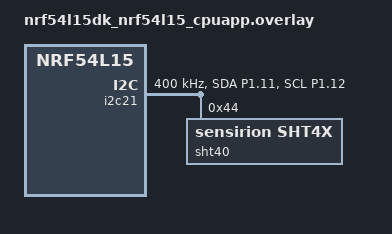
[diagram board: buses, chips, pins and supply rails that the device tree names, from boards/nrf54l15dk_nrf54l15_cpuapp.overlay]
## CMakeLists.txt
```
cmake_minimum_required(VERSION 3.20.0)

find_package(Zephyr REQUIRED HINTS $ENV{ZEPHYR_BASE})
project(sponge_tag)

target_sources(app PRIVATE src/main.c)
```

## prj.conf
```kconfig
# sponge-tag bring-up + product firmware (nRF Connect SDK v2.9.3)
CONFIG_GPIO=y
CONFIG_I2C=y
CONFIG_SENSOR=y

CONFIG_LOG=y
CONFIG_LOG_MODE_DEFERRED=y

# BLE broadcaster only: no connections (A01: 2 s adv interval)
CONFIG_BT=y
CONFIG_BT_BROADCASTER=y
CONFIG_BT_DEVICE_NAME="sponge-tag"

CONFIG_MAIN_STACK_SIZE=2048
```

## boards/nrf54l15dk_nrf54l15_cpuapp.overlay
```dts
/*
 * sponge-tag pin map on the nRF54L15 DK (develop before the boards arrive).
 * Matches 01-spec/analyses/A04 and 03-schematic net names:
 *   LED_GPIO = P1.10 (DK led1), BTN_GPIO = P1.13 (DK button0),
 *   I2C_SDA = P1.11, I2C_SCL = P1.12 (TWIM21) -> SHT40 breakout wired to the DK header,
 *   UART_TX/RX = P1.04/P1.05 (UARTE20, same as the DK console).
 */
/ {
	aliases {
		status-led = &led1;
		user-button = &button0;
	};
};

&pinctrl {
	i2c21_default: i2c21_default {
		group1 {
			psels = <NRF_PSEL(TWIM_SDA, 1, 11)>,
				<NRF_PSEL(TWIM_SCL, 1, 12)>;
		};
	};

	i2c21_sleep: i2c21_sleep {
		group1 {
			psels = <NRF_PSEL(TWIM_SDA, 1, 11)>,
				<NRF_PSEL(TWIM_SCL, 1, 12)>;
			low-power-enable;
		};
	};
};

&i2c21 {
	status = "okay";
	clock-frequency = <I2C_BITRATE_FAST>;
	pinctrl-0 = <&i2c21_default>;
	pinctrl-1 = <&i2c21_sleep>;
	pinctrl-names = "default", "sleep";

	sht40: sht4x@44 {
		compatible = "sensirion,sht4x";
		reg = <0x44>;
		repeatability = <2>; /* high, as assumed in A01 */
	};
};
```

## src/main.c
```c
/*
 * sponge-tag firmware: SHT40 every 60 s, broadcast in BLE advertising (no connections).
 *
 * REQ-003 measure every 60 s          REQ-004 button -> 100 ms adv for 30 s
 * REQ-006 LED blink on button press   A01 default adv interval 2 s
 *
 * Advertising payload (manufacturer data, little endian):
 *   [0..1] company ID 0xFFFF (test/unassigned)  [2] format version = 1
 *   [3..4] temperature, 0.01 degC (int16)        [5..6] humidity, 0.01 %RH (uint16)
 *   [7..8] battery mV (uint16, 0 until OQ-3 is resolved)
 */
#include <zephyr/kernel.h>
#include <zephyr/device.h>
#include <zephyr/drivers/gpio.h>
#include <zephyr/drivers/sensor.h>
#include <zephyr/bluetooth/bluetooth.h>
#include <zephyr/sys/byteorder.h>
#include <zephyr/logging/log.h>

LOG_MODULE_REGISTER(sponge_tag, LOG_LEVEL_INF);

#define MEAS_INTERVAL      K_SECONDS(60)
#define ADV_SLOW_UNITS     3200 /* 2 s in 0.625 ms units (A01) */
#define ADV_FAST_UNITS     160  /* 100 ms (REQ-004) */
#define FAST_ADV_DURATION  K_SECONDS(30)

static const struct gpio_dt_spec led = GPIO_DT_SPEC_GET(DT_ALIAS(status_led), gpios);
static const struct gpio_dt_spec button = GPIO_DT_SPEC_GET(DT_ALIAS(user_button), gpios);
static const struct device *const sht = DEVICE_DT_GET_ONE(sensirion_sht4x);

static uint8_t mfg_data[9] = {0xFF, 0xFF, 0x01};
static const struct bt_data ad[] = {
	BT_DATA_BYTES(BT_DATA_FLAGS, BT_LE_AD_NO_BREDR),
	BT_DATA(BT_DATA_MANUFACTURER_DATA, mfg_data, sizeof(mfg_data)),
};
static const struct bt_data sd[] = {
	BT_DATA(BT_DATA_NAME_COMPLETE, CONFIG_BT_DEVICE_NAME, sizeof(CONFIG_BT_DEVICE_NAME) - 1),
};

static struct gpio_callback button_cb;
static struct k_work_delayable fast_adv_end;
static struct k_work fast_adv_start;

static int adv_start(uint16_t interval)
{
	const struct bt_le_adv_param param =
		BT_LE_ADV_PARAM_INIT(BT_LE_ADV_OPT_USE_IDENTITY, interval, interval, NULL);

	bt_le_adv_stop();
	int err = bt_le_adv_start(&param, ad, ARRAY_SIZE(ad), sd, ARRAY_SIZE(sd));

	if (err) {
		LOG_ERR("adv start failed (%d)", err);
	} else {
		LOG_INF("advertising every %u ms", interval * 5 / 8);
	}
	return err;
}

static void fast_adv_start_fn(struct k_work *work)
{
	adv_start(ADV_FAST_UNITS);
	k_work_reschedule(&fast_adv_end, FAST_ADV_DURATION);
}

static void fast_adv_end_fn(struct k_work *work)
{
	adv_start(ADV_SLOW_UNITS);
}

static void button_pressed(const struct device *dev, struct gpio_callback *cb, uint32_t pins)
{
	gpio_pin_toggle_dt(&led); /* REQ-006 blink: on now, off at the next measurement tick */
	k_work_submit(&fast_adv_start);
}

static int measure(void)
{
	struct sensor_value t, h;
	int err = sensor_sample_fetch(sht);

	if (err) {
		LOG_ERR("SHT40 fetch failed (%d)", err);
		return err;
	}
	sensor_channel_get(sht, SENSOR_CHAN_AMBIENT_TEMP, &t);
	sensor_channel_get(sht, SENSOR_CHAN_HUMIDITY, &h);

	int16_t t_centi = (int16_t)(t.val1 * 100 + t.val2 / 10000);
	uint16_t h_centi = (uint16_t)(h.val1 * 100 + h.val2 / 10000);

	sys_put_le16((uint16_t)t_centi, &mfg_data[3]);
	sys_put_le16(h_centi, &mfg_data[5]);
	sys_put_le16(0, &mfg_data[7]); /* battery mV: TODO after OQ-3 (SAADC VDD input) */

	LOG_INF("T=%d.%02d C  RH=%u.%02u %%", t_centi / 100, abs(t_centi % 100),
		h_centi / 100, h_centi % 100);
	return bt_le_adv_update_data(ad, ARRAY_SIZE(ad), sd, ARRAY_SIZE(sd));
}

static int init_io(void)
{
	if (!gpio_is_ready_dt(&led) || !gpio_is_ready_dt(&button)) {
		return -ENODEV;
	}
	gpio_pin_configure_dt(&led, GPIO_OUTPUT_INACTIVE);
	gpio_pin_configure_dt(&button, GPIO_INPUT);
	gpio_pin_interrupt_configure_dt(&button, GPIO_INT_EDGE_TO_ACTIVE);
	gpio_init_callback(&button_cb, button_pressed, BIT(button.pin));
	return gpio_add_callback(button.port, &button_cb);
}

int main(void)
{
	LOG_INF("sponge-tag starting");

	if (init_io()) {
		LOG_ERR("GPIO init failed");
		return 0;
	}
	if (!device_is_ready(sht)) {
		LOG_ERR("SHT40 not ready: check I2C wiring / address 0x44");
	}

	k_work_init(&fast_adv_start, fast_adv_start_fn);
	k_work_init_delayable(&fast_adv_end, fast_adv_end_fn);

	int err = bt_enable(NULL);

	if (err) {
		LOG_ERR("bt_enable failed (%d)", err);
		return 0;
	}
	adv_start(ADV_SLOW_UNITS);

	while (1) {
		if (device_is_ready(sht)) {
			measure();
		}
		gpio_pin_set_dt(&led, 0);
		k_sleep(MEAS_INTERVAL);
	}
	return 0;
}
```
